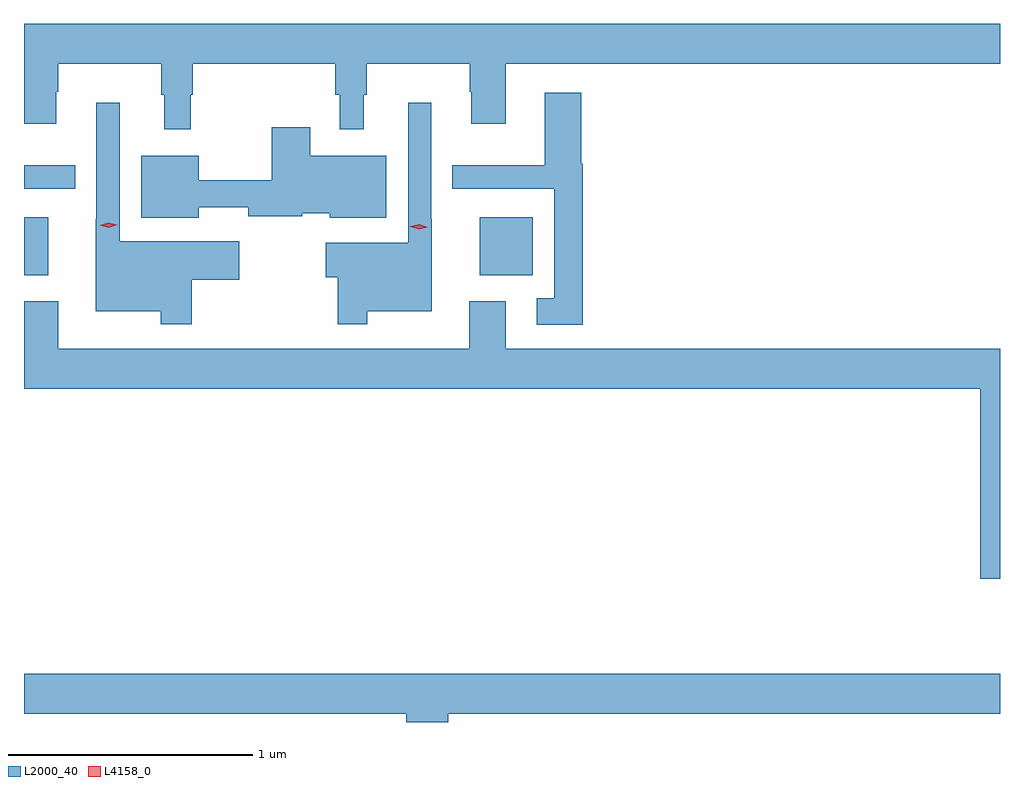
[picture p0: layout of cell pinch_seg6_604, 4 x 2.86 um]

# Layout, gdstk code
import gdstk
lib = gdstk.Library(unit=1e-6, precision=1e-09)
def R(c, l, rs):  # rectangles x0, y0, x1, y1
    for r in rs: c.add(gdstk.rectangle(r[:2], r[2:], *l))
def P(c, l, *ps):  # polygons
    for p in ps: c.add(gdstk.Polygon(p, *l))
L2000_40 = (2000, 40)
L4158_0 = (4158, 0)

pinch_seg6_604 = lib.new_cell('pinch_seg6_604')
R(pinch_seg6_604, L2000_40, [(456.259,970.445,456.358,970.684), (458.126,970.445,458.344,970.684), (456.259,970.8,456.47,970.897)])
P(pinch_seg6_604, L2000_40, [(456.259,971.067),(456.391,971.067),(456.391,971.198),(456.399,971.198),(456.399,971.312),(456.822,971.312),(456.822,971.186),(456.833,971.186),(456.833,971.043),(456.943,971.043),(456.943,971.186),(456.95,971.186),(456.95,971.312),(457.534,971.312),(457.534,971.186),(457.554,971.186),(457.554,971.043),(457.652,971.043),(457.652,971.186),(457.663,971.186),(457.663,971.312),(458.086,971.312),(458.086,971.198),(458.093,971.198),(458.093,971.067),(458.233,971.067),(458.233,971.312),(460.259,971.312),(460.259,971.476),(456.259,971.476)],
  [(458.549,970.903),(458.543,970.903),(458.543,971.194),(458.393,971.194),(458.393,970.897),(458.014,970.897),(458.014,970.8),(458.433,970.8),(458.433,970.351),(458.361,970.351),(458.361,970.242),(458.549,970.242)],
  [(456.947,970.427),(457.141,970.427),(457.141,970.585),(456.651,970.585),(456.651,971.152),(456.555,971.152),(456.555,970.675),(456.554,970.675),(456.554,970.298),(456.819,970.298),(456.819,970.245),(456.947,970.245)],
  [(457.666,970.298),(457.931,970.298),(457.931,970.675),(457.929,970.675),(457.929,971.152),(457.833,971.152),(457.833,970.579),(457.496,970.579),(457.496,970.438),(457.545,970.438),(457.545,970.245),(457.666,970.245)],
  [(456.976,970.724),(457.178,970.724),(457.178,970.688),(457.4,970.688),(457.4,970.7),(457.512,970.7),(457.512,970.682),(457.744,970.682),(457.744,970.936),(457.432,970.936),(457.432,971.053),(457.274,971.053),(457.274,970.834),(456.976,970.834),(456.976,970.936),(456.74,970.936),(456.74,970.682),(456.976,970.682)],
  [(460.259,970.144),(458.233,970.144),(458.233,970.339),(458.084,970.339),(458.084,970.144),(456.4,970.144),(456.4,970.339),(456.259,970.339),(456.259,969.98),(460.178,969.98),(460.178,969.201),(460.259,969.201)],
  [(457.997,968.648),(460.259,968.648),(460.259,968.812),(456.259,968.812),(456.259,968.648),(457.826,968.648),(457.826,968.614),(457.997,968.614)])
P(pinch_seg6_604, L4158_0, [(457.878,970.634),(457.843,970.645),(457.843,970.646),(457.843,970.646),(457.879,970.654),(457.914,970.642),(457.914,970.642),(457.914,970.642)],
  [(456.606,970.641),(456.57,970.65),(456.57,970.65),(456.57,970.65),(456.605,970.661),(456.641,970.653),(456.641,970.653),(456.641,970.652)])

lib.write_gds('pinch_seg6_604.gds')
